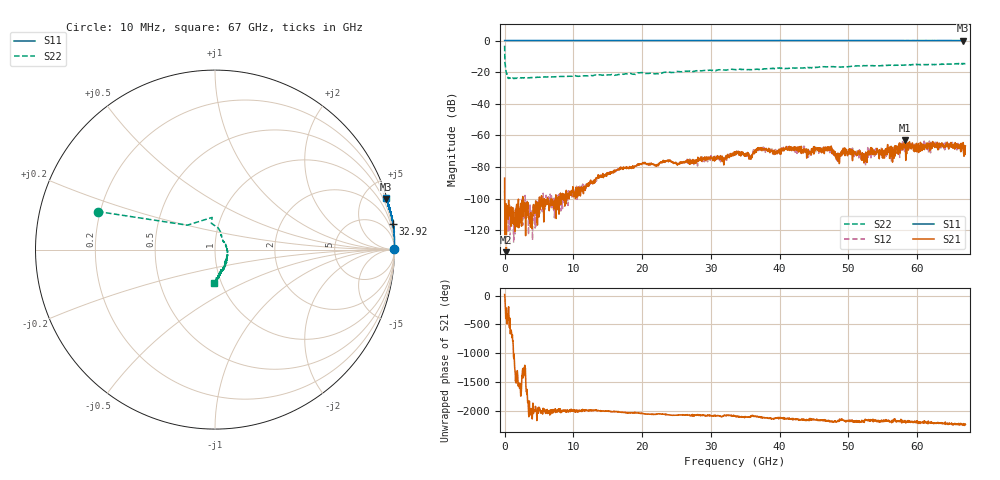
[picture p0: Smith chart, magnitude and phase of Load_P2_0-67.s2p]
!Keysight Technologies,N5247B,MY61256062,A.16.20.04
!Date: Saturday, November 29, 2025 07:31:24
!Correction: S11(C  2-Port  )
!S21(C  2-Port  )
!S12(C  2-Port  )
!S22(C  2-Port  )
!S2P File: Measurements: S11, S21, S12, S22:
# Hz S  dB  R 50
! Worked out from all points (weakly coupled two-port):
!   1601 points, 10 MHz to 67 GHz, reference 50 ohm
!   highest |S21| = -62.87 dB at 58.25 GHz (marker M1); lowest = -133.9 dB at 261.2 MHz (marker M2)
!   lowest |S11| = -0.1 dB at 66.58 GHz (marker M3), VSWR 284.04, Z = 8.57 + j345 ohm
!   |S11| at or under -10 dB: nowhere
!   |S22| runs from -24.0 to -3.3 dB; largest |S21 - S12| = 0.00038
!   S11 on the Smith chart (normalised r, x): 10 MHz: open; 32.92 GHz: -0, +14; 67 GHz: 0.10, +6.83
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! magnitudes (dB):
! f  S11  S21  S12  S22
! 10 MHz  0.0  -87.0  -94.7  -3.3
! 261.2 MHz  0.0  -133.9  -111.0  -20.1
! 470.6 MHz  0.0  -104.5  -108.3  -22.8
! 847.4 MHz  0.0  -109.6  -110.8  -23.8
! 11.19 GHz  0.0  -92.5  -92.7  -22.4
! 22.37 GHz  0.0  -79.1  -78.4  -21.1
! 32 GHz  0.0  -75.6  -74.6  -18.6
! 32.92 GHz  0.0  -73.2  -71.4  -18.1
! 33.51 GHz  0.0  -70.3  -70.6  -18.5
! 35.72 GHz  0.0  -74.6  -73.8  -18.4
! 37.02 GHz  0.0  -68.8  -68.2  -18.2
! 39.37 GHz  0.0  -71.9  -69.9  -17.7
! 41.21 GHz  0.0  -68.6  -67.1  -17.6
! 44.68 GHz  0.0  -69.6  -71.8  -17.2
! 47.2 GHz  0.0  -67.2  -69.9  -16.6
! 48.41 GHz  0.0  -71.2  -74.2  -16.7
! 50.34 GHz  0.0  -70.9  -68.6  -16.4
! 52.22 GHz  0.0  -71.7  -72.6  -15.9
! 55.86 GHz  0.0  -69.7  -68.3  -15.7
! 58.25 GHz  0.0  -62.9  -68.0  -15.5
! 66.58 GHz  -0.1  -66.7  -66.9  -14.7
! 67 GHz  0.0  -66.7  -67.4  -14.6
